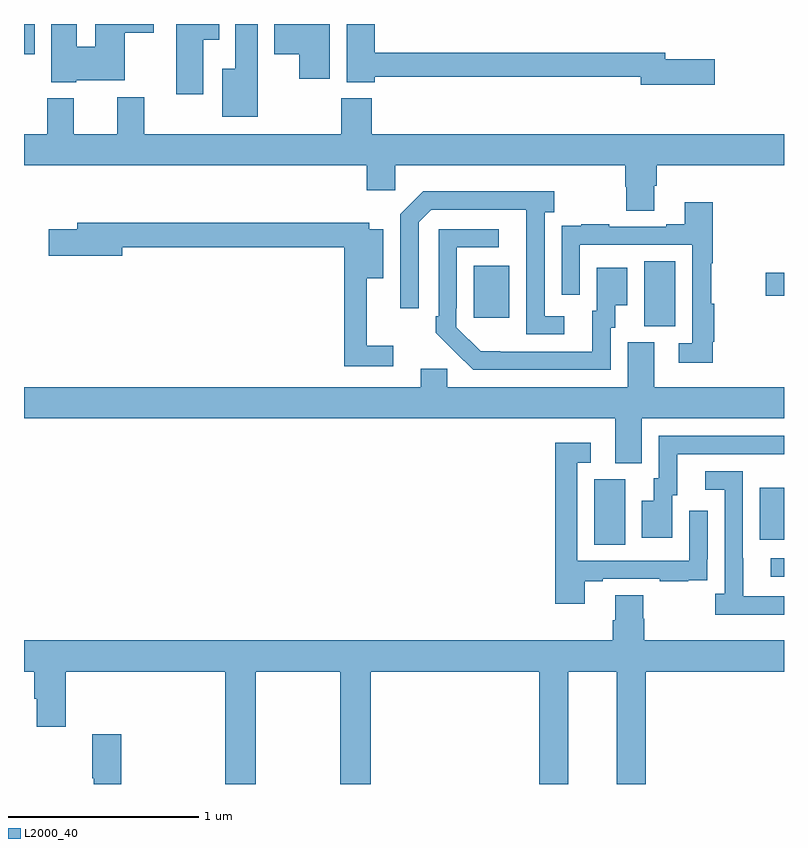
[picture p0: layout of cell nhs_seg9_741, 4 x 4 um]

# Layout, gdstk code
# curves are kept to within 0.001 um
import gdstk
lib = gdstk.Library(unit=1e-6, precision=1e-09)
def R(c, l, rs):  # rectangles x0, y0, x1, y1
    for r in rs: c.add(gdstk.rectangle(r[:2], r[2:], *l))
def P(c, l, *ps):  # polygons
    for p in ps: c.add(gdstk.Polygon(p, *l))
L2000_40 = (2000, 40)

nhs_seg9_741 = lib.new_cell('nhs_seg9_741')
R(nhs_seg9_741, L2000_40, [(152.931,1191.591,153,1191.687), (152,1191.76,152.164,1192.104), (152.873,1191.785,153,1192.06), (152.264,1192.909,152.428,1193.252), (151.367,1192.953,151.555,1193.227), (152.904,1193.069,153,1193.191), (149,1194.341,149.056,1194.5)])
P(nhs_seg9_741, L2000_40, [(152.635,1194.314),(152.374,1194.314),(152.374,1194.35),(150.845,1194.35),(150.845,1194.5),(150.698,1194.5),(150.698,1194.194),(150.845,1194.194),(150.845,1194.222),(152.246,1194.222),(152.246,1194.179),(152.635,1194.179)],
  [(149.944,1194.416),(150.028,1194.416),(150.028,1194.5),(149.801,1194.5),(149.801,1194.129),(149.944,1194.129)],
  [(149.274,1194.203),(149.53,1194.203),(149.53,1194.454),(149.683,1194.454),(149.683,1194.5),(149.375,1194.5),(149.375,1194.379),(149.278,1194.379),(149.278,1194.5),(149.144,1194.5),(149.144,1194.194),(149.274,1194.194)],
  [(150.61,1194.5),(150.317,1194.5),(150.317,1194.341),(150.449,1194.341),(150.449,1194.213),(150.61,1194.213)],
  [(150.229,1194.5),(150.113,1194.5),(150.113,1194.265),(150.044,1194.265),(150.044,1194.011),(150.229,1194.011)],
  [(152.317,1193.65),(152.33,1193.65),(152.33,1193.756),(153,1193.756),(153,1193.92),(150.83,1193.92),(150.83,1194.109),(150.67,1194.109),(150.67,1193.92),(149.632,1193.92),(149.632,1194.115),(149.492,1194.115),(149.492,1193.92),(149.263,1193.92),(149.263,1194.109),(149.123,1194.109),(149.123,1193.92),(149,1193.92),(149,1193.756),(150.803,1193.756),(150.803,1193.625),(150.954,1193.625),(150.954,1193.756),(152.165,1193.756),(152.165,1193.643),(152.17,1193.643),(152.17,1193.518),(152.317,1193.518)],
  [(151.843,1192.962),(151.74,1192.962),(151.74,1193.51),(151.792,1193.51),(151.792,1193.62),(151.102,1193.62),(150.981,1193.499),(150.981,1193.004),(151.077,1193.004),(151.077,1193.457),(151.143,1193.523),(151.643,1193.523),(151.644,1192.866),(151.843,1192.866)],
  [(152.626,1192.828),(152.633,1192.828),(152.633,1193.028),(152.618,1193.028),(152.618,1193.24),(152.626,1193.24),(152.626,1193.563),(152.477,1193.563),(152.477,1193.446),(152.381,1193.446),(152.381,1193.433),(152.081,1193.433),(152.081,1193.446),(151.933,1193.446),(151.933,1193.439),(151.831,1193.439),(151.831,1193.33),(151.83,1193.33),(151.83,1193.076),(151.926,1193.076),(151.926,1193.337),(152.517,1193.337),(152.517,1192.821),(152.445,1192.821),(152.445,1192.716),(152.626,1192.716)],
  [(150.943,1192.807),(150.803,1192.807),(150.803,1193.162),(150.892,1193.162),(150.892,1193.419),(150.816,1193.419),(150.816,1193.455),(149.279,1193.455),(149.279,1193.421),(149.13,1193.421),(149.13,1193.279),(149.518,1193.279),(149.518,1193.326),(150.685,1193.326),(150.685,1192.698),(150.943,1192.698)],
  [(152.088,1192.902),(152.113,1192.902),(152.113,1193.021),(152.176,1193.021),(152.176,1193.218),(152.015,1193.218),(152.015,1192.992),(151.991,1192.992),(151.991,1192.776),(151.404,1192.777),(151.275,1192.905),(151.275,1193.005),(151.278,1193.005),(151.278,1193.325),(151.498,1193.325),(151.498,1193.421),(151.182,1193.421),(151.182,1192.963),(151.167,1192.963),(151.167,1192.875),(151.364,1192.68),(152.088,1192.68)],
  [(152.251,1192.424),(153,1192.424),(153,1192.588),(152.317,1192.588),(152.317,1192.824),(152.177,1192.824),(152.177,1192.588),(151.227,1192.588),(151.227,1192.686),(151.088,1192.686),(151.088,1192.588),(149,1192.588),(149,1192.424),(152.111,1192.424),(152.111,1192.189),(152.251,1192.189)],
  [(152.413,1192.02),(152.437,1192.02),(152.437,1192.236),(153,1192.236),(153,1192.332),(152.34,1192.332),(152.34,1192.11),(152.315,1192.11),(152.315,1191.991),(152.252,1191.991),(152.252,1191.795),(152.413,1191.795)],
  [(151.951,1191.567),(152.047,1191.567),(152.047,1191.579),(152.347,1191.579),(152.347,1191.567),(152.495,1191.567),(152.495,1191.573),(152.597,1191.573),(152.597,1191.682),(152.598,1191.682),(152.598,1191.937),(152.502,1191.937),(152.502,1191.675),(151.911,1191.675),(151.911,1192.191),(151.984,1192.191),(151.984,1192.297),(151.795,1192.297),(151.795,1191.45),(151.951,1191.45)],
  [(153,1191.489),(152.785,1191.489),(152.785,1191.689),(152.784,1191.689),(152.784,1192.146),(152.586,1192.146),(152.586,1192.05),(152.688,1192.05),(152.688,1191.502),(152.637,1191.502),(152.637,1191.392),(153,1191.392)],
  [(150.219,1191.092),(150.664,1191.092),(150.664,1190.5),(150.824,1190.5),(150.824,1191.092),(151.712,1191.092),(151.712,1190.5),(151.864,1190.5),(151.864,1191.092),(152.12,1191.092),(152.12,1190.5),(152.273,1190.5),(152.273,1191.092),(153,1191.092),(153,1191.256),(152.264,1191.256),(152.264,1191.369),(152.259,1191.369),(152.259,1191.494),(152.111,1191.494),(152.111,1191.362),(152.099,1191.362),(152.099,1191.256),(149,1191.256),(149,1191.092),(149.054,1191.092),(149.054,1190.95),(149.066,1190.95),(149.066,1190.802),(149.219,1190.802),(149.219,1191.092),(150.059,1191.092),(150.059,1190.5),(150.219,1190.5)],
  [(149.513,1190.761),(149.359,1190.761),(149.359,1190.53),(149.366,1190.53),(149.366,1190.5),(149.513,1190.5)])

lib.write_gds('nhs_seg9_741.gds')
